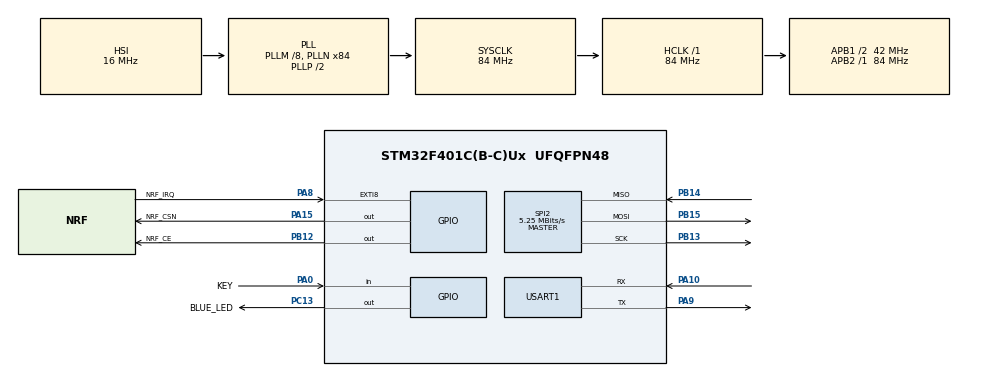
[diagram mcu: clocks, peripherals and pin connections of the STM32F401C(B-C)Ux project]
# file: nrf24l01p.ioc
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Mcu.Family=STM32F4
Mcu.Name=STM32F401C(B-C)Ux
Mcu.Package=UFQFPN48
NVIC.EXTI9_5_IRQn=true\:0\:0\:false\:false\:true\:true\:true\:true
NVIC.PriorityGroup=NVIC_PRIORITYGROUP_4
PA0-WKUP.GPIO_Label=KEY
PA0-WKUP.Signal=GPIO_Input
PA10.Mode=Asynchronous
PA10.Signal=USART1_RX
PA13.Mode=Serial_Wire
PA13.Signal=SYS_JTMS-SWDIO
PA14.Mode=Serial_Wire
PA14.Signal=SYS_JTCK-SWCLK
PA15.GPIO_Label=NRF_CSN
PA15.GPIO_PuPd=GPIO_NOPULL
PA15.GPIO_Speed=GPIO_SPEED_FREQ_LOW
PA15.Signal=GPIO_Output
PA8.GPIO_Label=NRF_IRQ
PA8.GPIO_ModeDefaultEXTI=GPIO_MODE_IT_FALLING
PA8.GPIO_PuPd=GPIO_PULLUP
PA8.Signal=GPXTI8
PA9.Mode=Asynchronous
PA9.Signal=USART1_TX
PB12.GPIO_Label=NRF_CE
PB12.GPIO_PuPd=GPIO_NOPULL
PB12.GPIO_Speed=GPIO_SPEED_FREQ_LOW
PB12.Signal=GPIO_Output
PB13.Mode=Full_Duplex_Master
PB13.Signal=SPI2_SCK
PB14.Mode=Full_Duplex_Master
PB14.Signal=SPI2_MISO
PB15.Mode=Full_Duplex_Master
PB15.Signal=SPI2_MOSI
PC13-ANTI_TAMP.GPIO_Label=BLUE_LED
PC13-ANTI_TAMP.GPIO_PuPd=GPIO_PULLDOWN
PC13-ANTI_TAMP.PinState=GPIO_PIN_RESET
PC13-ANTI_TAMP.Signal=GPIO_Output
PC14-OSC32_IN.Mode=LSE-External-Oscillator
PC14-OSC32_IN.Signal=RCC_OSC32_IN
PC15-OSC32_OUT.Mode=LSE-External-Oscillator
PC15-OSC32_OUT.Signal=RCC_OSC32_OUT
PH0\ -\ OSC_IN.Mode=HSE-External-Oscillator
PH0\ -\ OSC_IN.Signal=RCC_OSC_IN
PH1\ -\ OSC_OUT.Mode=HSE-External-Oscillator
PH1\ -\ OSC_OUT.Signal=RCC_OSC_OUT
ProjectManager.HeapSize=0x200
ProjectManager.StackSize=0x400
ProjectManager.TargetToolchain=Makefile
RCC.48MHZClocksFreq_Value=42000000
RCC.AHBFreq_Value=84000000
RCC.APB1CLKDivider=RCC_HCLK_DIV2
RCC.APB1Freq_Value=42000000
RCC.APB1TimFreq_Value=84000000
RCC.APB2Freq_Value=84000000
RCC.APB2TimFreq_Value=84000000
RCC.CortexFreq_Value=84000000
RCC.HCLKFreq_Value=84000000
RCC.HSE_VALUE=25000000
RCC.HSI_VALUE=16000000
RCC.PLLM=8
RCC.PLLN=84
RCC.SYSCLKFreq_VALUE=84000000
RCC.SYSCLKSource=RCC_SYSCLKSOURCE_PLLCLK
RCC.VCOOutputFreq_Value=168000000
SPI2.BaudRatePrescaler=SPI_BAUDRATEPRESCALER_8
SPI2.CalculateBaudRate=5.25 MBits/s
SPI2.Direction=SPI_DIRECTION_2LINES
SPI2.Mode=SPI_MODE_MASTER
SPI2.VirtualType=VM_MASTER
USART1.VirtualMode=VM_ASYNC
board=custom

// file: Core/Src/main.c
/* USER CODE BEGIN Header */
/**
  ******************************************************************************
  * @file           : main.c
  * @brief          : Main program body
  ******************************************************************************
  * @attention
  *
  * Copyright (c) 2023 STMicroelectronics.
  * All rights reserved.
  *
  * This software is licensed under terms that can be found in the LICENSE file
  * in the root directory of this software component.
  * If no LICENSE file comes with this software, it is provided AS-IS.
  *
  ******************************************************************************
  */
/* USER CODE END Header */
#include "main.h"
#include "spi.h"
#include "usart.h"
#include "gpio.h"

/* USER CODE BEGIN Includes */
#include "nrf24l01p.h"
#include "dwt_delay.h"
#include "stdio.h"
/* USER CODE END Includes */

/* USER CODE BEGIN PD */
#define TRANSMITTER
// #define RECEIVER
/* USER CODE END PD */

/* USER CODE BEGIN PV */
uint8_t str[100];
uint8_t len;
uint8_t payload[32] = {0};
#ifdef NRF24L01P_ACK_PAYLOAD
uint8_t ack_payload[3] = {0, 1, 2};
#endif
/* USER CODE END PV */

void SystemClock_Config(void);

int main(void)
{

  /* MCU Configuration--------------------------------------------------------*/

  /* Reset of all peripherals, Initializes the Flash interface and the Systick. */
  HAL_Init();

  /* Configure the system clock */
  SystemClock_Config();

  /* Initialize all configured peripherals */
  MX_GPIO_Init();
  MX_SPI2_Init();
  MX_USART1_UART_Init();
  /* USER CODE BEGIN 2 */
  DWT_Init();
  struct nrf24l01p_cfg nrf24l01p_param = {
  #ifdef TRANSMITTER
    .mode = PTX_MODE,
  #else
    .mode = PRX_MODE,
  #endif
    .crc_len = CRC_TWO_BYTES,
    .air_data_rate = _2Mbps,
    .output_power = _0dBm,
    .channel = 2432,
    .address_width = 5,
    .auto_retransmit_count = 6,
    .auto_retransmit_delay = 500
  };
  if (nrf24l01p_init(&nrf24l01p_param)) {
    while (1) {
      HAL_GPIO_TogglePin(BLUE_LED_GPIO_Port, BLUE_LED_Pin);
      HAL_Delay(1000);
    }
  }
  len = snprintf((char *)str, 100, "nrf24l01+ initialization done...%s", "\n\r");
  HAL_UART_Transmit(&huart1, str, len, 100);
#ifdef TRANSMITTER
  for (uint8_t i = 0; i < 32; i++) {
    payload[i] = i;
  }
#else
  nrf24l01p_start_rx();
#endif
  /* USER CODE END 2 */

  /* Infinite loop */
  /* USER CODE BEGIN WHILE */
  while (1)
  {
#ifdef TRANSMITTER
    for (uint8_t i = 0; i < 32; i++) {
      if (payload[i] == 255)
        payload[i] = 0;
      else
        payload[i]++;
    }
  #ifdef NRF24L01P_ACK_PAYLOAD
    nrf24l01p_transmit(payload, 10);
    HAL_Delay(100);
    len = snprintf((char *)str, 100, "ack>>p0: %d, p1: %d, p2: %d\n\r",
                   ack_payload[0], ack_payload[1], ack_payload[2]);
    HAL_UART_Transmit(&huart1, str, len, 100);
  #else
    nrf24l01p_transmit(payload);
    HAL_Delay(100);
  #endif
#else
    len = snprintf((char *)str, 100, "p0: %d, p1: %d, p2: %d\n\r",
                   payload[0], payload[1], payload[2]);
    HAL_UART_Transmit(&huart1, str, len, 100);
    HAL_Delay(100);
#endif
    /* USER CODE END WHILE */

  }
}

void SystemClock_Config(void)
{
  RCC_OscInitTypeDef RCC_OscInitStruct = {0};
  RCC_ClkInitTypeDef RCC_ClkInitStruct = {0};

  /** Configure the main internal regulator output voltage
  */
  __HAL_RCC_PWR_CLK_ENABLE();
  __HAL_PWR_VOLTAGESCALING_CONFIG(PWR_REGULATOR_VOLTAGE_SCALE2);

  /** Initializes the RCC Oscillators according to the specified parameters
  * in the RCC_OscInitTypeDef structure.
  */
  RCC_OscInitStruct.OscillatorType = RCC_OSCILLATORTYPE_HSI;
  RCC_OscInitStruct.HSIState = RCC_HSI_ON;
  RCC_OscInitStruct.HSICalibrationValue = RCC_HSICALIBRATION_DEFAULT;
  RCC_OscInitStruct.PLL.PLLState = RCC_PLL_ON;
  RCC_OscInitStruct.PLL.PLLSource = RCC_PLLSOURCE_HSI;
  RCC_OscInitStruct.PLL.PLLM = 8;
  RCC_OscInitStruct.PLL.PLLN = 84;
  RCC_OscInitStruct.PLL.PLLP = RCC_PLLP_DIV2;
  RCC_OscInitStruct.PLL.PLLQ = 4;
  if (HAL_RCC_OscConfig(&RCC_OscInitStruct) != HAL_OK)
  {
    Error_Handler();
  }

  /** Initializes the CPU, AHB and APB buses clocks
  */
  RCC_ClkInitStruct.ClockType = RCC_CLOCKTYPE_HCLK|RCC_CLOCKTYPE_SYSCLK
                              |RCC_CLOCKTYPE_PCLK1|RCC_CLOCKTYPE_PCLK2;
  RCC_ClkInitStruct.SYSCLKSource = RCC_SYSCLKSOURCE_PLLCLK;
  RCC_ClkInitStruct.AHBCLKDivider = RCC_SYSCLK_DIV1;
  RCC_ClkInitStruct.APB1CLKDivider = RCC_HCLK_DIV2;
  RCC_ClkInitStruct.APB2CLKDivider = RCC_HCLK_DIV1;

  if (HAL_RCC_ClockConfig(&RCC_ClkInitStruct, FLASH_LATENCY_2) != HAL_OK)
  {
    Error_Handler();
  }
}

/* USER CODE BEGIN 4 */
void HAL_GPIO_EXTI_Callback(uint16_t GPIO_Pin)
{
  if (GPIO_Pin == NRF_IRQ_Pin) {
#ifdef TRANSMITTER
  #ifdef NRF24L01P_ACK_PAYLOAD
    if (nrf24l01p_tx_irq(ack_payload))
  #else
    if (nrf24l01p_tx_irq())
  #endif
      HAL_GPIO_WritePin(BLUE_LED_GPIO_Port, BLUE_LED_Pin, GPIO_PIN_RESET);
    else
      HAL_GPIO_TogglePin(BLUE_LED_GPIO_Port, BLUE_LED_Pin);
#else
  #ifdef NRF24L01P_ACK_PAYLOAD
    if (ack_payload[2] == 255) {
      ack_payload[0] = 0;
      ack_payload[1] = 1;
      ack_payload[2] = 2;
    } else {
      ack_payload[0]++;
      ack_payload[1]++;
      ack_payload[2]++;
    }
    nrf24l01p_write_ack_payload(ack_payload, 3);
  #endif
    nrf24l01p_receive(payload);
    HAL_GPIO_TogglePin(BLUE_LED_GPIO_Port, BLUE_LED_Pin);
#endif
  }
}
/* USER CODE END 4 */

void Error_Handler(void)
{
  __disable_irq();
  while (1)
  {
  }
}
